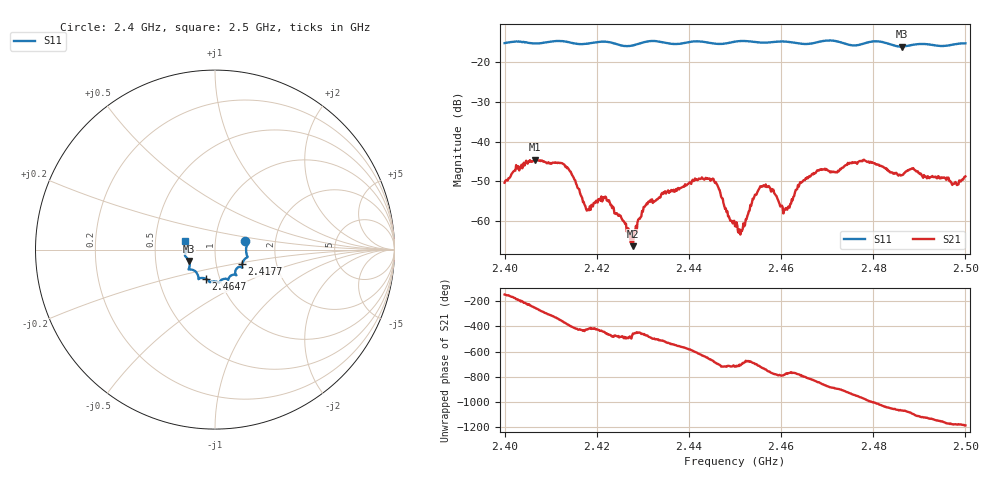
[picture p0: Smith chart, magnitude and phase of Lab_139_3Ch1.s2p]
# Hz S RI R 50
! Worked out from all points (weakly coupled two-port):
!   601 points, 2.4 GHz to 2.5 GHz, reference 50 ohm
!   highest |S21| = -44.54 dB at 2.4067 GHz (marker M1); lowest = -66.4 dB at 2.4278 GHz (marker M2)
!   lowest |S11| = -16.0 dB at 2.4862 GHz (marker M3), VSWR 1.38, Z = 37.1 - j4.84 ohm
!   |S11| at or under -10 dB: start of sweep to end of sweep
!   S12 and S22 are empty: the file has one direction only
!   S11 on the Smith chart (normalised r, x): 2.4 GHz: 1.40, +0.13; 2.4177 GHz: 1.34, -0.22; 2.4647 GHz: 0.86, -0.29; 2.5 GHz: 0.71, +0.07
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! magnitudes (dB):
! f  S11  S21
! 2.4 GHz  -15.1  -50.4
! 2.4067 GHz  -15.2  -44.5
! 2.4128 GHz  -14.7  -45.7
! 2.4167 GHz  -15.4  -53.8
! 2.4177 GHz  -15.3  -56.9
! 2.4222 GHz  -14.8  -54.9
! 2.4278 GHz  -15.7  -66.4
! 2.4303 GHz  -14.9  -56.5
! 2.4333 GHz  -14.7  -54.4
! 2.4448 GHz  -15.2  -49.5
! 2.45 GHz  -14.8  -61.3
! 2.4517 GHz  -14.6  -62.1
! 2.4557 GHz  -15.0  -51.3
! 2.4578 GHz  -14.9  -52.6
! 2.461 GHz  -14.8  -56.8
! 2.4647 GHz  -15.3  -50.1
! 2.4667 GHz  -15.2  -48.3
! 2.4777 GHz  -15.4  -45.0
! 2.4833 GHz  -15.3  -47.5
! 2.4862 GHz  -16.0  -48.5
! 2.4977 GHz  -15.4  -50.6
! 2.5 GHz  -15.2  -48.8
